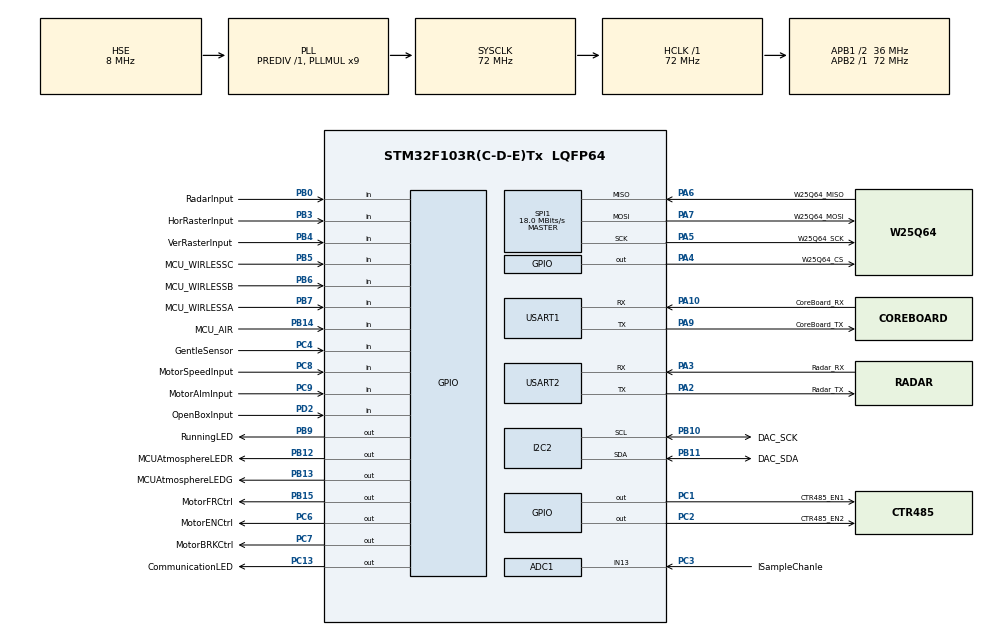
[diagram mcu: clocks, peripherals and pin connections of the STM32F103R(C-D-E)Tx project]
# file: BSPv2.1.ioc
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ADC1.Channel-0\#ChannelRegularConversion=ADC_CHANNEL_13
ADC1.Channel-1\#ChannelRegularConversion=ADC_CHANNEL_TEMPSENSOR
ADC1.ContinuousConvMode=DISABLE
ADC1.DataAlign=ADC_DATAALIGN_RIGHT
ADC1.DiscontinuousConvMode=DISABLE
ADC1.EnableAnalogWatchDog=false
ADC1.EnableRegularConversion=ENABLE
ADC1.ExternalTrigConv=ADC_SOFTWARE_START
ADC1.InjNumberOfConversion=0
ADC1.NbrOfConversion=2
ADC1.NbrOfConversionFlag=1
ADC1.Rank-0\#ChannelRegularConversion=1
ADC1.Rank-1\#ChannelRegularConversion=2
ADC1.SamplingTime-0\#ChannelRegularConversion=ADC_SAMPLETIME_239CYCLES_5
ADC1.SamplingTime-1\#ChannelRegularConversion=ADC_SAMPLETIME_239CYCLES_5
ADC1.ScanConvMode=ADC_SCAN_ENABLE
ADC1.master=1
Dma.ADC1.0.Direction=DMA_PERIPH_TO_MEMORY
Dma.ADC1.0.Instance=DMA1_Channel1
Dma.ADC1.0.MemDataAlignment=DMA_MDATAALIGN_WORD
Dma.ADC1.0.MemInc=DMA_MINC_ENABLE
Dma.ADC1.0.Mode=DMA_CIRCULAR
Dma.ADC1.0.PeriphDataAlignment=DMA_PDATAALIGN_WORD
Dma.ADC1.0.PeriphInc=DMA_PINC_DISABLE
Dma.ADC1.0.Priority=DMA_PRIORITY_LOW
Dma.Request0=ADC1
Dma.Request1=USART1_RX
Dma.Request2=USART2_RX
Dma.USART1_RX.1.Direction=DMA_PERIPH_TO_MEMORY
Dma.USART1_RX.1.Instance=DMA1_Channel5
Dma.USART1_RX.1.MemDataAlignment=DMA_MDATAALIGN_BYTE
Dma.USART1_RX.1.MemInc=DMA_MINC_ENABLE
Dma.USART1_RX.1.Mode=DMA_NORMAL
Dma.USART1_RX.1.PeriphDataAlignment=DMA_PDATAALIGN_BYTE
Dma.USART1_RX.1.PeriphInc=DMA_PINC_DISABLE
Dma.USART1_RX.1.Priority=DMA_PRIORITY_LOW
Dma.USART2_RX.2.Direction=DMA_PERIPH_TO_MEMORY
Dma.USART2_RX.2.Instance=DMA1_Channel6
Dma.USART2_RX.2.MemDataAlignment=DMA_MDATAALIGN_BYTE
Dma.USART2_RX.2.MemInc=DMA_MINC_ENABLE
Dma.USART2_RX.2.Mode=DMA_NORMAL
Dma.USART2_RX.2.PeriphDataAlignment=DMA_PDATAALIGN_BYTE
Dma.USART2_RX.2.PeriphInc=DMA_PINC_DISABLE
Dma.USART2_RX.2.Priority=DMA_PRIORITY_LOW
Mcu.Family=STM32F1
Mcu.Name=STM32F103R(C-D-E)Tx
Mcu.Package=LQFP64
NVIC.ADC1_2_IRQn=true\:0\:0\:false\:true\:true\:10\:true
NVIC.DMA1_Channel1_IRQn=true\:0\:0\:false\:true\:true\:5\:false
NVIC.DMA1_Channel5_IRQn=true\:0\:0\:false\:true\:true\:7\:false
NVIC.DMA1_Channel6_IRQn=true\:0\:0\:false\:true\:true\:8\:false
NVIC.I2C2_ER_IRQn=true\:0\:0\:false\:true\:true\:12\:true
NVIC.I2C2_EV_IRQn=true\:0\:0\:false\:true\:true\:11\:true
NVIC.PriorityGroup=NVIC_PRIORITYGROUP_4
NVIC.SPI1_IRQn=true\:0\:0\:false\:false\:true\:true
NVIC.TIM4_IRQn=true\:0\:0\:false\:true\:true\:4\:true
NVIC.TIM5_IRQn=true\:0\:0\:false\:true\:true\:3\:true
NVIC.TIM6_IRQn=true\:0\:0\:false\:false\:true\:true
NVIC.USART1_IRQn=true\:0\:0\:false\:true\:true\:1\:true
NVIC.USART2_IRQn=true\:0\:0\:false\:true\:true\:2\:true
PA10.GPIO_Label=CoreBoard_RX
PA10.GPIO_PuPd=GPIO_PULLUP
PA10.Mode=Asynchronous
PA10.Signal=USART1_RX
PA13.Mode=Serial_Wire
PA13.Signal=SYS_JTMS-SWDIO
PA14.Mode=Serial_Wire
PA14.Signal=SYS_JTCK-SWCLK
PA2.GPIO_Label=Radar_TX
PA2.Mode=Asynchronous
PA2.Signal=USART2_TX
PA3.GPIO_Label=Radar_RX
PA3.GPIO_PuPd=GPIO_PULLUP
PA3.Mode=Asynchronous
PA3.Signal=USART2_RX
PA4.GPIO_Label=W25Q64_CS
PA4.Signal=GPIO_Output
PA5.GPIO_Label=W25Q64_SCK
PA5.Mode=Full_Duplex_Master
PA5.Signal=SPI1_SCK
PA6.GPIO_Label=W25Q64_MISO
PA6.Mode=Full_Duplex_Master
PA6.Signal=SPI1_MISO
PA7.GPIO_Label=W25Q64_MOSI
PA7.Mode=Full_Duplex_Master
PA7.Signal=SPI1_MOSI
PA9.GPIO_Label=CoreBoard_TX
PA9.Mode=Asynchronous
PA9.Signal=USART1_TX
PB0.GPIO_Label=RadarInput
PB0.GPIO_PuPd=GPIO_PULLUP
PB0.Signal=GPIO_Input
PB10.GPIO_Label=DAC_SCK
PB10.Mode=I2C
PB10.Signal=I2C2_SCL
PB11.GPIO_Label=DAC_SDA
PB11.Mode=I2C
PB11.Signal=I2C2_SDA
PB12.GPIO_Label=MCUAtmosphereLEDR
PB12.Signal=GPIO_Output
PB13.GPIO_Label=MCUAtmosphereLEDG
PB13.Signal=GPIO_Output
PB14.GPIO_Label=MCU_AIR
PB14.Signal=GPIO_Input
PB15.GPIO_Label=MotorFRCtrl
PB15.Signal=GPIO_Output
PB3.GPIO_Label=HorRasterInput
PB3.GPIO_PuPd=GPIO_PULLUP
PB3.Signal=GPIO_Input
PB4.GPIO_Label=VerRasterInput
PB4.GPIO_PuPd=GPIO_PULLDOWN
PB4.Signal=GPIO_Input
PB5.GPIO_Label=MCU_WIRLESSC
PB5.Signal=GPIO_Input
PB6.GPIO_Label=MCU_WIRLESSB
PB6.Signal=GPIO_Input
PB7.GPIO_Label=MCU_WIRLESSA
PB7.GPIO_PuPd=GPIO_PULLUP
PB7.Signal=GPIO_Input
PB9.GPIO_Label=RunningLED
PB9.Signal=GPIO_Output
PC1.GPIO_Label=CTR485_EN1
PC1.GPIO_ModeDefaultOutputPP=GPIO_MODE_OUTPUT_PP
PC1.PinState=GPIO_PIN_RESET
PC1.Signal=GPIO_Output
PC13-TAMPER-RTC.GPIO_Label=CommunicationLED
PC13-TAMPER-RTC.Signal=GPIO_Output
PC2.GPIO_Label=CTR485_EN2
PC2.Signal=GPIO_Output
PC3.GPIO_Label=ISampleChanle
PC3.Signal=ADCx_IN13
PC4.GPIO_Label=GentleSensor
PC4.GPIO_PuPd=GPIO_PULLUP
PC4.Signal=GPIO_Input
PC6.GPIO_Label=MotorENCtrl
PC6.Signal=GPIO_Output
PC7.GPIO_Label=MotorBRKCtrl
PC7.Signal=GPIO_Output
PC8.GPIO_Label=MotorSpeedInput
PC8.GPIO_PuPd=GPIO_PULLUP
PC8.Signal=GPIO_Input
PC9.GPIO_Label=MotorAlmInput
PC9.GPIO_PuPd=GPIO_PULLDOWN
PC9.Signal=GPIO_Input
PD0-OSC_IN.Mode=HSE-External-Oscillator
PD0-OSC_IN.Signal=RCC_OSC_IN
PD1-OSC_OUT.Mode=HSE-External-Oscillator
PD1-OSC_OUT.Signal=RCC_OSC_OUT
PD2.GPIO_Label=OpenBoxInput
PD2.Signal=GPIO_Input
ProjectManager.HeapSize=0x200
ProjectManager.StackSize=0x400
ProjectManager.TargetToolchain=EWARM
RCC.ADCPresc=RCC_ADCPCLK2_DIV6
RCC.AHBFreq_Value=72000000
RCC.APB1CLKDivider=RCC_HCLK_DIV2
RCC.APB1Freq_Value=36000000
RCC.APB1TimFreq_Value=72000000
RCC.APB2Freq_Value=72000000
RCC.APB2TimFreq_Value=72000000
RCC.HCLKFreq_Value=72000000
RCC.PLLMUL=RCC_PLL_MUL9
RCC.PLLSourceVirtual=RCC_PLLSOURCE_HSE
RCC.SYSCLKFreq_VALUE=72000000
RCC.SYSCLKSource=RCC_SYSCLKSOURCE_PLLCLK
RCC.USBFreq_Value=72000000
SH.ADCx_IN13.0=ADC1_IN13,IN13
SPI1.BaudRatePrescaler=SPI_BAUDRATEPRESCALER_4
SPI1.CalculateBaudRate=18.0 MBits/s
SPI1.DataSize=SPI_DATASIZE_16BIT
SPI1.Direction=SPI_DIRECTION_2LINES
SPI1.Mode=SPI_MODE_MASTER
SPI1.VirtualType=VM_MASTER
TIM4.Period=100-1
TIM4.Prescaler=72 - 1
TIM5.Period=1000-1
TIM5.Prescaler=72 - 1
TIM6.Period=460-1
TIM6.Prescaler=360-1
USART1.VirtualMode=VM_ASYNC
USART2.VirtualMode=VM_ASYNC
VP_ADC1_TempSens_Input.Mode=IN-TempSens
VP_TIM4_VS_ClockSourceINT.Mode=Internal
VP_TIM5_VS_ClockSourceINT.Mode=Internal
VP_TIM6_VS_ClockSourceINT.Mode=Enable_Timer
board=BSPv2.1

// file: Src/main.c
/**
  ******************************************************************************
  * @file           : main.c
  * @brief          : Main program body
  ******************************************************************************
  ** This notice applies to any and all portions of this file
  * that are not between comment pairs USER CODE BEGIN and
  * USER CODE END. Other portions of this file, whether
  * inserted by the user or by software development tools
  * are owned by their respective copyright owners.
  *
  * COPYRIGHT(c) 2018 STMicroelectronics
  *
  * Redistribution and use in source and binary forms, with or without modification,
  * are permitted provided that the following conditions are met:
  *   1. Redistributions of source code must retain the above copyright notice,
  *      this list of conditions and the following disclaimer.
  *   2. Redistributions in binary form must reproduce the above copyright notice,
  *      this list of conditions and the following disclaimer in the documentation
  *      and/or other materials provided with the distribution.
  *   3. Neither the name of STMicroelectronics nor the names of its contributors
  *      may be used to endorse or promote products derived from this software
  *      without specific prior written permission.
  *
  * THIS SOFTWARE IS PROVIDED BY THE COPYRIGHT HOLDERS AND CONTRIBUTORS "AS IS"
  * AND ANY EXPRESS OR IMPLIED WARRANTIES, INCLUDING, BUT NOT LIMITED TO, THE
  * IMPLIED WARRANTIES OF MERCHANTABILITY AND FITNESS FOR A PARTICULAR PURPOSE ARE
  * DISCLAIMED. IN NO EVENT SHALL THE COPYRIGHT HOLDER OR CONTRIBUTORS BE LIABLE
  * FOR ANY DIRECT, INDIRECT, INCIDENTAL, SPECIAL, EXEMPLARY, OR CONSEQUENTIAL
  * DAMAGES (INCLUDING, BUT NOT LIMITED TO, PROCUREMENT OF SUBSTITUTE GOODS OR
  * SERVICES; LOSS OF USE, DATA, OR PROFITS; OR BUSINESS INTERRUPTION) HOWEVER
  * CAUSED AND ON ANY THEORY OF LIABILITY, WHETHER IN CONTRACT, STRICT LIABILITY,
  * OR TORT (INCLUDING NEGLIGENCE OR OTHERWISE) ARISING IN ANY WAY OUT OF THE USE
  * OF THIS SOFTWARE, EVEN IF ADVISED OF THE POSSIBILITY OF SUCH DAMAGE.
  *
  ******************************************************************************
  */
#include "main.h"
#include "stm32f1xx_hal.h"
#include "adc.h"
#include "dma.h"
#include "i2c.h"
#include "spi.h"
#include "tim.h"
#include "usart.h"
#include "gpio.h"

/* USER CODE BEGIN Includes */
#include "bsp_DataTransmissionLayer.h"
#include "bsp_ProtocolLayer.h"
#include "bsp_motor.h"
#include "bsp_AirSensor.h"
#include "bsp_Common.h"
#include "bsp_GentleSensor.h"
#include "BSP_DAC5571.h"
#include "bsp_led.h"
#include "bsp_Log.h"
#include "bsp_wrieless.h"
/* USER CODE END Includes */

/* USER CODE BEGIN PV */
/* Private variables ---------------------------------------------------------*/
#define CODEVERSION			0x0201

MOTORMACHINE gMotorMachine;
GPIOSTRUCT gHorGpio;
GPIOSTRUCT gVerGpio;
GPIOSTRUCT gOpenBoxGpio;	//开箱检测GPIO
GPIOSTRUCT gGentleSensorGpio;

uint8_t gWrielessActionFlag;
uint8_t gWrielessModeFlag;

uint8_t gRevOpenFlag;	//接收到开闸指令标记位
uint8_t gEnterTimeoutFlag;//出入场超时标记
uint8_t gCarEnteredFlag;  //车辆完成出入场标记位

uint16_t Tim4Cnt;
uint8_t  Tim4Flag;

uint16_t Tim5Cnt;
uint8_t  Tim5Flag;

uint16_t Tim5LedCnt;
uint8_t  Tim5LedFlag;

uint32_t Tim5LogCnt;
uint8_t  Tim5LogFlag;

uint32_t Tim5EnterTimeoutSum;//单位为ms
uint32_t Tim5EnterTimeoutCnt;

uint16_t Tim6Cnt;
uint8_t  Tim6Flag;
/* 电流及温度采集 */
uint32_t gADCBuffer[10];
uint32_t gIValue;
uint32_t gTempertureValue;

/* 电机调速 */
uint8_t  Tim6OpenSpeedCnt;
uint8_t  Tim6OpenSpeedFlag;
uint8_t  gOpenSpeedFlag;
uint16_t gSpeed;

uint8_t gCloseFlag;

extern uint8_t gOpenBControlBuf[300];

/* USER CODE END PV */

void SystemClock_Config(void);
static void MX_NVIC_Init(void);

/* USER CODE BEGIN PFP */
/* Private function prototypes -----------------------------------------------*/
static void RasterStateCheck(void);
static void CheckCarEnterFlag(void);
/* USER CODE END PFP */

int main(void)
{

  /* MCU Configuration----------------------------------------------------------*/

  /* Reset of all peripherals, Initializes the Flash interface and the Systick. */
  HAL_Init();

  /* Configure the system clock */
  SystemClock_Config();

  /* Initialize all configured peripherals */
  MX_GPIO_Init();
  MX_DMA_Init();
  MX_ADC1_Init();
  MX_I2C2_Init();
  MX_SPI1_Init();
  MX_TIM4_Init();
  MX_TIM5_Init();
  MX_USART1_UART_Init();
  MX_USART2_UART_Init();
  MX_TIM6_Init();

  /* Initialize interrupts */
  MX_NVIC_Init();
  /* USER CODE BEGIN 2 */
  HAL_TIM_Base_Start_IT(&htim4); 	//0.1ms
  HAL_TIM_Base_Start_IT(&htim5);	//1ms
  HAL_TIM_Base_Start_IT(&htim6);	//

  BSP_MotorInit();
  BSP_WirelessInit(20);
  BSP_AirSensorInit(5);
  BSP_GentleSensorInit(5);
  BSP_DriverBoardProtocolInit();
  BSP_Log_Init(0x12345678);

  BSP_DAC5571_Init(NormalOperationMode);
  BSP_DAC5571_WriteValue(NormalOperationMode, 100);

  gHorGpio.FilterCntSum = 15;
  gVerGpio.FilterCntSum = 15;
  Tim5EnterTimeoutSum = 10000; //4s

  /* USER CODE END 2 */

  /* Infinite loop */
  while (1)
  {

  /* USER CODE BEGIN 3 */
  BSP_HandingUartDataFromDriverBoard();
  BSP_HandingDriverBoardRequest();
  BSP_SendAckData();

  //检测光栅状态
  if(Tim4Flag)
  {
	RasterStateCheck();
	Tim4Flag = 0;
  }
  //检测空气压力传感器以及地感传感器
  if(Tim5Flag)
  {
  	BSP_AirSensorChecked();
	BSP_GentleSensorCheck();

	BSP_WirelessCheck();
	BSP_WirelessAction();
	Tim5Flag = 0;
  }

  BSP_MotorCheckA();
  BSP_MotorActionA();

  //检测车辆是否进出场
  CheckCarEnterFlag();

  /*  开闸调速 */
  if(Tim6OpenSpeedFlag)
  {
	if(gOpenSpeedFlag)
	{
		BSP_DAC5571_WriteValue(NormalOperationMode,gOpenBControlBuf[gSpeed]);
		//调试使用
		BSP_SendByteToDriverBoard(gOpenBControlBuf[gSpeed], 0xFFFF);
		gSpeed++;
		if(gSpeed > 299)
		{
			gSpeed = 299;
		}
	}
	else
	{
		gSpeed = 0;
	}

	Tim6OpenSpeedFlag = 0;
  }
		//设置氛围灯
  if(Tim5LedFlag)
  {
	BSP_LEDCheck();
	Tim5LedFlag = 0;
  }
	if(Tim5LogFlag)
	{
		Tim5LogFlag = 0;
		BSP_Log_WriteFlag();
	}
	//检测上报日志信息
	BSP_Log_CheckReportInfo();
  }
  /* USER CODE END 3 */

}

void SystemClock_Config(void)
{

  RCC_OscInitTypeDef RCC_OscInitStruct;
  RCC_ClkInitTypeDef RCC_ClkInitStruct;
  RCC_PeriphCLKInitTypeDef PeriphClkInit;

    /**Initializes the CPU, AHB and APB busses clocks
    */
  RCC_OscInitStruct.OscillatorType = RCC_OSCILLATORTYPE_HSE;
  RCC_OscInitStruct.HSEState = RCC_HSE_ON;
  RCC_OscInitStruct.HSEPredivValue = RCC_HSE_PREDIV_DIV1;
  RCC_OscInitStruct.HSIState = RCC_HSI_ON;
  RCC_OscInitStruct.PLL.PLLState = RCC_PLL_ON;
  RCC_OscInitStruct.PLL.PLLSource = RCC_PLLSOURCE_HSE;
  RCC_OscInitStruct.PLL.PLLMUL = RCC_PLL_MUL9;
  if (HAL_RCC_OscConfig(&RCC_OscInitStruct) != HAL_OK)
  {
    _Error_Handler(__FILE__, __LINE__);
  }

    /**Initializes the CPU, AHB and APB busses clocks
    */
  RCC_ClkInitStruct.ClockType = RCC_CLOCKTYPE_HCLK|RCC_CLOCKTYPE_SYSCLK
                              |RCC_CLOCKTYPE_PCLK1|RCC_CLOCKTYPE_PCLK2;
  RCC_ClkInitStruct.SYSCLKSource = RCC_SYSCLKSOURCE_PLLCLK;
  RCC_ClkInitStruct.AHBCLKDivider = RCC_SYSCLK_DIV1;
  RCC_ClkInitStruct.APB1CLKDivider = RCC_HCLK_DIV2;
  RCC_ClkInitStruct.APB2CLKDivider = RCC_HCLK_DIV1;

  if (HAL_RCC_ClockConfig(&RCC_ClkInitStruct, FLASH_LATENCY_2) != HAL_OK)
  {
    _Error_Handler(__FILE__, __LINE__);
  }

  PeriphClkInit.PeriphClockSelection = RCC_PERIPHCLK_ADC;
  PeriphClkInit.AdcClockSelection = RCC_ADCPCLK2_DIV6;
  if (HAL_RCCEx_PeriphCLKConfig(&PeriphClkInit) != HAL_OK)
  {
    _Error_Handler(__FILE__, __LINE__);
  }

    /**Configure the Systick interrupt time
    */
  HAL_SYSTICK_Config(HAL_RCC_GetHCLKFreq()/1000);

    /**Configure the Systick
    */
  HAL_SYSTICK_CLKSourceConfig(SYSTICK_CLKSOURCE_HCLK);

  /* SysTick_IRQn interrupt configuration */
  HAL_NVIC_SetPriority(SysTick_IRQn, 0, 0);
}

/**
  * @brief NVIC Configuration.
  * @retval None
  */
static void MX_NVIC_Init(void)
{
  /* USART1_IRQn interrupt configuration */
  HAL_NVIC_SetPriority(USART1_IRQn, 0, 0);
  HAL_NVIC_EnableIRQ(USART1_IRQn);
  /* USART2_IRQn interrupt configuration */
  HAL_NVIC_SetPriority(USART2_IRQn, 0, 0);
  HAL_NVIC_EnableIRQ(USART2_IRQn);
  /* TIM5_IRQn interrupt configuration */
  HAL_NVIC_SetPriority(TIM5_IRQn, 0, 0);
  HAL_NVIC_EnableIRQ(TIM5_IRQn);
  /* TIM4_IRQn interrupt configuration */
  HAL_NVIC_SetPriority(TIM4_IRQn, 0, 0);
  HAL_NVIC_EnableIRQ(TIM4_IRQn);
  /* DMA1_Channel1_IRQn interrupt configuration */
  HAL_NVIC_SetPriority(DMA1_Channel1_IRQn, 0, 0);
  HAL_NVIC_EnableIRQ(DMA1_Channel1_IRQn);
  /* DMA1_Channel5_IRQn interrupt configuration */
  HAL_NVIC_SetPriority(DMA1_Channel5_IRQn, 0, 0);
  HAL_NVIC_EnableIRQ(DMA1_Channel5_IRQn);
  /* DMA1_Channel6_IRQn interrupt configuration */
  HAL_NVIC_SetPriority(DMA1_Channel6_IRQn, 0, 0);
  HAL_NVIC_EnableIRQ(DMA1_Channel6_IRQn);
  /* ADC1_2_IRQn interrupt configuration */
  HAL_NVIC_SetPriority(ADC1_2_IRQn, 0, 0);
  HAL_NVIC_EnableIRQ(ADC1_2_IRQn);
  /* I2C2_EV_IRQn interrupt configuration */
  HAL_NVIC_SetPriority(I2C2_EV_IRQn, 0, 0);
  HAL_NVIC_EnableIRQ(I2C2_EV_IRQn);
  /* I2C2_ER_IRQn interrupt configuration */
  HAL_NVIC_SetPriority(I2C2_ER_IRQn, 0, 0);
  HAL_NVIC_EnableIRQ(I2C2_ER_IRQn);
}

/* USER CODE BEGIN 4 */

void HAL_TIM_PeriodElapsedCallback(TIM_HandleTypeDef * htim)
{
	UNUSED(htim);

	if(htim4.Instance == htim->Instance)
	{
		Tim4Flag = 1;
	}

	if(htim5.Instance == htim->Instance)
	{
		Tim5Flag= 1;
		if(gRevOpenFlag)
		{
			Tim5EnterTimeoutCnt ++;
			if(0 == gCarEnteredFlag)
			{
				gCloseFlag = 1;
			}
			//在定时的时间内车辆出入场
			if(1 == gMotorMachine.GentleSensorFlag)
			{
				//gRevOpenFlag = 0;
				gCarEnteredFlag = 1;
				//写关闸
				gCloseFlag = 0;
			}

			if(Tim5EnterTimeoutCnt > Tim5EnterTimeoutSum)
			{
				gRevOpenFlag = 0;
				gEnterTimeoutFlag = 1;
				Tim5EnterTimeoutCnt = 0;
				/* 写关闸操作 */
				gCloseFlag = 0;
			}
		}
		else
		{
			gCloseFlag = 0;
		}

		Tim5LedCnt++;
		if(Tim5LedCnt > 200)
		{
			Tim5LedFlag = 1;
			Tim5LedCnt = 0;
		}

		Tim5LogCnt++;
		if(Tim5LogCnt > 10000)
		{
			Tim5LogFlag = 1;
			Tim5LogCnt = 0;
		}
	}

	if(htim6.Instance == htim->Instance)
	{
		Tim6OpenSpeedCnt++;
		if(Tim6OpenSpeedCnt > 1)
		{
			Tim6OpenSpeedCnt = 0;
			Tim6OpenSpeedFlag = 1;
		}
	}
}

static void RasterStateCheck(void)
{
	gHorGpio.CurrentReadVal = HAL_GPIO_ReadPin(HorRasterInput_GPIO_Port,HorRasterInput_Pin);
	gVerGpio.CurrentReadVal = HAL_GPIO_ReadPin(VerRasterInput_GPIO_Port,VerRasterInput_Pin);

	if(0 == gHorGpio.CurrentReadVal && 0 == gHorGpio.LastReadVal)
	{
		gHorGpio.FilterCnt ++;
		if(gHorGpio.FilterCnt > gHorGpio.FilterCntSum)
		{
			gMotorMachine.HorizontalRasterState = 1;
			gHorGpio.FilterCnt = 0;
			if(DOWNDIR == gMotorMachine.RunDir)
			{
				BSP_MotorStop();
				gMotorMachine.RunDir = UPDIR;
				gMotorMachine.RunningState = 0;

                if(gWrielessModeFlag)
                {
                    gWrielessModeFlag = 0;
                    gWrielessActionFlag = 0;
                }

				if(1 == gEnterTimeoutFlag)
				{
					gEnterTimeoutFlag = 2;
				}
				if(1 == gCarEnteredFlag)
				{
					gRevOpenFlag = 0;
					gCarEnteredFlag = 2;
				}
			}
		}
	}
	else
	{
		gMotorMachine.HorizontalRasterState = 0;
		gHorGpio.FilterCnt = 0;
	}
	gHorGpio.LastReadVal = gHorGpio.CurrentReadVal;

	if(0 == gVerGpio.CurrentReadVal && 0 == gVerGpio.LastReadVal)
	{
		gVerGpio.FilterCnt ++;
		if(gVerGpio.FilterCnt > gVerGpio.FilterCntSum)
		{
			gMotorMachine.VerticalRasterState = 1;
			gVerGpio.FilterCnt = 0;
			if(UPDIR == gMotorMachine.RunDir)
			{
				gMotorMachine.RunDir = DOWNDIR;
				gMotorMachine.RunningState = 0;
				BSP_MotorStop();
				gOpenSpeedFlag = 0;
				gWrielessActionFlag = 0;
				if(1 == gMotorMachine.EncounteredFlag)
				{
					gMotorMachine.EncounteredFlag = 0;
					gRevOpenFlag = 1;
					Tim5EnterTimeoutCnt = 0;
				}
			}
		}
	}
	else
	{
		gMotorMachine.VerticalRasterState = 0;
		gVerGpio.FilterCnt = 0;
	}
	gVerGpio.LastReadVal = gVerGpio.CurrentReadVal;
}

void CheckCarEnterFlag(void)
{
	uint8_t pData[7];
	pData[0] = 0x5B;
	pData[1] = 0xE3;
	pData[3] = 0x00;
	pData[4] = 0x00;
	pData[6] = 0x5D;

	//停车在开闸处超时
	//if(2 == gCarEnteredFlag && 2 == gEnterTimeoutFlag)
	//{
	//	gCarEnteredFlag = 0;
                //gEnterTimeoutFlag = 0;
	//	return;
	//}

	if(2 == gCarEnteredFlag)
	{
		pData[2] = 0x00;
		pData[5] = 0xE3;
		gCarEnteredFlag = 0;

		/*数据发送*/
		BSP_SendDataToDriverBoard(pData,7,0xFFFF);
		return;
	}

	if(2 == gEnterTimeoutFlag)
	{
		pData[2] = 0x01;
		pData[5] = 0xE2;
		gEnterTimeoutFlag = 0;

		/*数据发送*/
		BSP_SendDataToDriverBoard(pData,7,0xFFFF);
		return;
	}

}

/* USER CODE END 4 */

void _Error_Handler(char *file, int line)
{
  while(1)
  {
  }
}

/************************ (C) COPYRIGHT STMicroelectronics *****END OF FILE****/
